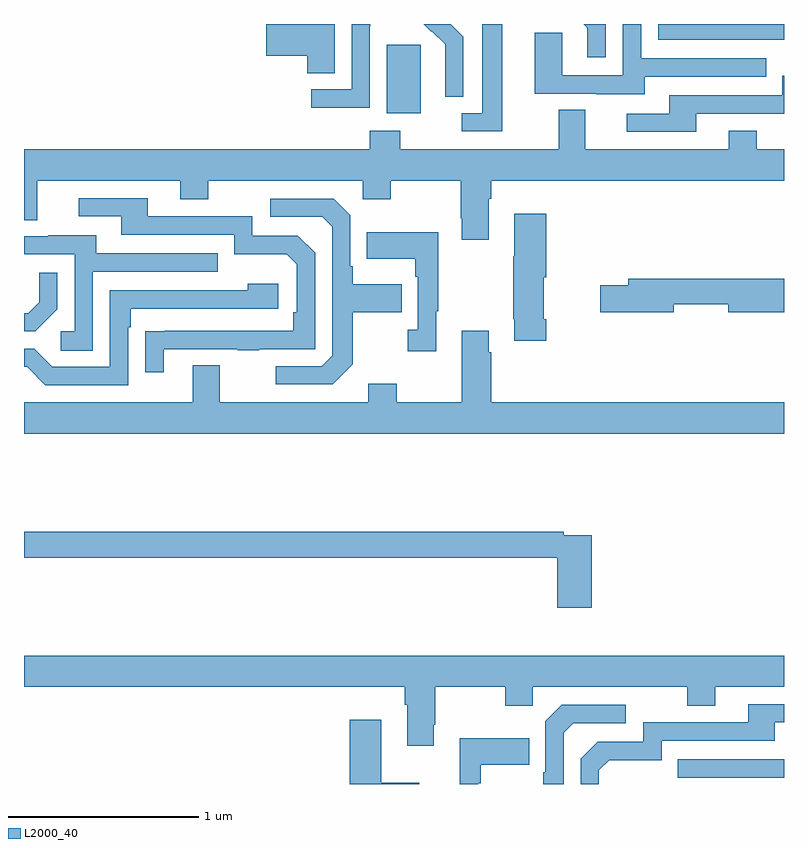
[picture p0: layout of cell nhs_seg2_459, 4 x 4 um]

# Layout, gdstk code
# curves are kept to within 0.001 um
import gdstk
lib = gdstk.Library(unit=1e-6, precision=1e-09)
def R(c, l, rs):  # rectangles x0, y0, x1, y1
    for r in rs: c.add(gdstk.rectangle(r[:2], r[2:], *l))
def P(c, l, *ps):  # polygons
    for p in ps: c.add(gdstk.Polygon(p, *l))
L2000_40 = (2000, 40)

nhs_seg2_459 = lib.new_cell('nhs_seg2_459')
R(nhs_seg2_459, L2000_40, [(136.441,637.833,137,637.929), (134.909,641.33,135.088,641.691), (136.338,641.718,137,641.8)])
P(nhs_seg2_459, L2000_40, [(136.267,641.523),(136.907,641.523),(136.907,641.619),(136.248,641.619),(136.248,641.8),(136.152,641.8),(136.152,641.529),(135.834,641.529),(135.834,641.753),(135.689,641.753),(135.689,641.433),(136.013,641.433),(136.013,641.429),(136.267,641.429)],
  [(136.062,641.8),(135.946,641.8),(135.965,641.781),(135.965,641.625),(136.062,641.625)],
  [(135.517,641.8),(135.413,641.8),(135.413,641.331),(135.303,641.331),(135.303,641.235),(135.517,641.235)],
  [(134.82,641.788),(134.823,641.788),(134.823,641.8),(134.724,641.8),(134.724,641.457),(134.511,641.457),(134.511,641.359),(134.82,641.359)],
  [(135.312,641.734),(135.246,641.8),(135.104,641.8),(135.144,641.76),(135.147,641.763),(135.218,641.693),(135.218,641.57),(135.216,641.57),(135.216,641.416),(135.312,641.416)],
  [(134.635,641.8),(134.274,641.8),(134.274,641.633),(134.492,641.633),(134.492,641.542),(134.635,641.542)],
  [(136.537,641.328),(137,641.328),(137,641.527),(136.992,641.527),(136.992,641.424),(136.397,641.424),(136.397,641.328),(136.173,641.328),(136.173,641.232),(136.537,641.232)],
  [(135.445,640.88),(135.458,640.88),(135.458,640.976),(137,640.976),(137,641.14),(136.857,641.14),(136.857,641.239),(136.709,641.239),(136.709,641.14),(135.955,641.14),(135.955,641.348),(135.815,641.348),(135.815,641.14),(134.979,641.14),(134.979,641.239),(134.819,641.239),(134.819,641.14),(133,641.14),(133,640.768),(133.069,640.768),(133.069,640.976),(133.823,640.976),(133.823,640.877),(133.971,640.877),(133.971,640.976),(134.784,640.976),(134.784,640.877),(134.931,640.877),(134.931,640.976),(135.298,640.976),(135.298,640.777),(135.305,640.777),(135.305,640.665),(135.445,640.665)],
  [(133.735,640.089),(134.125,640.089),(134.125,640.084),(134.237,640.084),(134.237,640.089),(134.532,640.089),(134.532,640.596),(134.442,640.686),(134.202,640.686),(134.202,640.788),(133.651,640.788),(133.651,640.884),(133.287,640.884),(133.287,640.788),(133.511,640.788),(133.511,640.692),(134.106,640.692),(134.106,640.589),(134.383,640.589),(134.436,640.536),(134.436,640.282),(134.416,640.282),(134.416,640.185),(133.639,640.184),(133.639,639.966),(133.735,639.966)],
  [(134.731,640.009),(134.731,640.282),(134.987,640.282),(134.987,640.429),(134.731,640.429),(134.731,640.525),(134.718,640.525),(134.718,640.794),(134.631,640.881),(134.295,640.881),(134.295,640.785),(134.571,640.785),(134.622,640.734),(134.622,640.053),(134.568,639.999),(134.325,639.999),(134.325,639.903),(134.625,639.903)],
  [(135.749,640.246),(135.736,640.246),(135.736,640.467),(135.749,640.467),(135.749,640.801),(135.581,640.801),(135.581,640.577),(135.574,640.577),(135.574,640.246),(135.581,640.246),(135.581,640.134),(135.749,640.134)],
  [(135.169,640.289),(135.181,640.289),(135.181,640.705),(134.803,640.705),(134.803,640.565),(135.06,640.565),(135.06,640.469),(135.072,640.469),(135.072,640.19),(135.021,640.19),(135.021,640.077),(135.169,640.077)],
  [(133.362,640.497),(134.021,640.497),(134.021,640.593),(133.381,640.593),(133.381,640.687),(133.127,640.687),(133.127,640.683),(133,640.683),(133,640.587),(133.266,640.587),(133.266,640.182),(133.194,640.182),(133.194,640.081),(133.362,640.081)],
  [(133.176,640.298),(133.176,640.492),(133.079,640.492),(133.079,640.335),(133.022,640.278),(133,640.278),(133,640.182),(133.06,640.182)],
  [(136.42,640.324),(136.706,640.324),(136.706,640.282),(137,640.282),(137,640.46),(136.181,640.46),(136.181,640.424),(136.032,640.424),(136.032,640.282),(136.42,640.282)],
  [(133.548,640.205),(133.561,640.205),(133.561,640.302),(134.338,640.302),(134.338,640.432),(134.177,640.432),(134.177,640.398),(133.452,640.398),(133.452,639.996),(133.149,639.996),(133.053,640.092),(133,640.092),(133,639.996),(133.017,639.996),(133.113,639.9),(133.548,639.9)],
  [(137,639.808),(135.458,639.808),(135.458,640.073),(135.445,640.073),(135.445,640.186),(135.305,640.186),(135.305,639.808),(134.961,639.808),(134.961,639.907),(134.813,639.907),(134.813,639.808),(134.029,639.808),(134.029,640.003),(133.889,640.003),(133.889,639.808),(133,639.808),(133,639.644),(137,639.644)],
  [(135.989,639.108),(135.842,639.108),(135.842,639.128),(133,639.128),(133,638.992),(135.806,638.992),(135.806,638.727),(135.989,638.727)],
  [(135.157,638.113),(135.165,638.113),(135.165,638.312),(135.532,638.312),(135.532,638.213),(135.678,638.213),(135.678,638.312),(136.492,638.312),(136.492,638.213),(136.639,638.213),(136.639,638.312),(137,638.312),(137,638.476),(133,638.476),(133,638.312),(135.005,638.312),(135.005,638.216),(135.017,638.216),(135.017,638.001),(135.157,638.001)],
  [(136.026,637.872),(136.079,637.925),(136.356,637.925),(136.356,638.028),(136.951,638.028),(136.951,638.124),(137,638.124),(137,638.22),(136.811,638.22),(136.811,638.124),(136.26,638.124),(136.26,638.022),(136.02,638.022),(135.93,637.932),(135.93,637.8),(136.026,637.8)],
  [(135.84,638.07),(135.891,638.121),(136.168,638.121),(136.168,638.217),(135.831,638.217),(135.744,638.13),(135.744,637.861),(135.732,637.861),(135.732,637.8),(135.84,637.8)],
  [(135.079,637.807),(134.881,637.807),(134.881,638.137),(134.714,638.137),(134.714,637.8),(135.079,637.8)],
  [(135.39,637.805),(135.403,637.805),(135.403,637.901),(135.659,637.901),(135.659,638.041),(135.293,638.041),(135.293,637.8),(135.39,637.8)])

lib.write_gds('nhs_seg2_459.gds')
